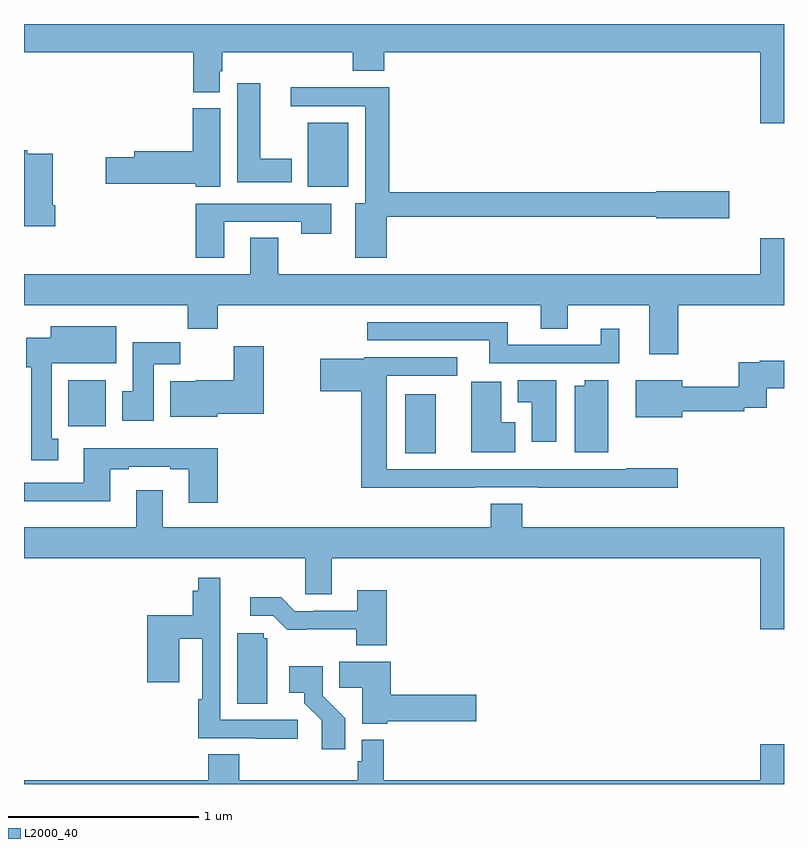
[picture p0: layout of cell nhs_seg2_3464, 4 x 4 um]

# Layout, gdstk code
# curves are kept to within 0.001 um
import gdstk
lib = gdstk.Library(unit=1e-6, precision=1e-09)
def R(c, l, rs):  # rectangles x0, y0, x1, y1
    for r in rs: c.add(gdstk.rectangle(r[:2], r[2:], *l))
def P(c, l, *ps):  # polygons
    for p in ps: c.add(gdstk.Polygon(p, *l))
L2000_40 = (2000, 40)

nhs_seg2_3464 = lib.new_cell('nhs_seg2_3464')
R(nhs_seg2_3464, L2000_40, [(295.007,629.542,295.168,629.851), (293.234,629.684,293.431,629.926), (294.494,630.944,294.706,631.279)])
P(nhs_seg2_3464, L2000_40, [(297,631.8),(293,631.8),(293,631.652),(293.891,631.652),(293.891,631.441),(294.031,631.441),(294.031,631.551),(294.044,631.551),(294.044,631.652),(294.731,631.652),(294.731,631.553),(294.896,631.553),(294.896,631.652),(296.876,631.652),(296.876,631.278),(297,631.278)],
  [(294.409,631.09),(294.244,631.09),(294.244,631.489),(294.122,631.489),(294.122,630.968),(294.409,630.968)],
  [(294.91,630.786),(296.328,630.786),(296.328,630.778),(296.713,630.778),(296.713,630.92),(296.328,630.92),(296.328,630.914),(294.923,630.914),(294.923,631.466),(294.405,631.466),(294.405,631.368),(294.797,631.368),(294.797,630.856),(294.743,630.856),(294.743,630.57),(294.91,630.57)],
  [(294.034,631.356),(293.888,631.356),(293.888,631.13),(293.579,631.13),(293.579,631.1),(293.43,631.1),(293.43,630.958),(293.904,630.958),(293.904,630.944),(294.034,630.944)],
  [(293.165,630.847),(293.152,630.847),(293.152,631.116),(293.018,631.116),(293.018,631.136),(293,631.136),(293,630.735),(293.165,630.735)],
  [(294.055,630.759),(294.46,630.759),(294.46,630.696),(294.616,630.696),(294.616,630.855),(293.903,630.855),(293.903,630.57),(294.055,630.57)],
  [(296.444,630.32),(297,630.32),(297,630.673),(296.876,630.673),(296.876,630.484),(294.339,630.484),(294.339,630.674),(294.191,630.674),(294.191,630.484),(293,630.484),(293,630.32),(293.863,630.32),(293.863,630.196),(294.02,630.196),(294.02,630.32),(295.721,630.32),(295.721,630.196),(295.861,630.196),(295.861,630.32),(296.291,630.32),(296.291,630.063),(296.444,630.063)],
  [(296.134,630.196),(296.036,630.196),(296.036,630.111),(295.546,630.111),(295.546,630.231),(294.807,630.231),(294.807,630.135),(295.448,630.135),(295.448,630.015),(296.134,630.015)],
  [(293.179,629.618),(293.146,629.618),(293.146,630.014),(293.485,630.014),(293.485,630.208),(293.141,630.208),(293.141,630.148),(293.012,630.148),(293.012,629.994),(293.039,629.994),(293.039,629.505),(293.179,629.505)],
  [(293.683,630.008),(293.822,630.008),(293.822,630.126),(293.573,630.126),(293.573,629.868),(293.516,629.868),(293.516,629.712),(293.683,629.712)],
  [(294.018,629.75),(294.262,629.75),(294.262,630.103),(294.104,630.103),(294.104,629.926),(293.904,629.926),(293.904,629.92),(293.771,629.92),(293.771,629.732),(294.018,629.732)],
  [(295.373,629.361),(295.705,629.361),(295.705,629.36),(296.44,629.36),(296.44,629.462),(296.17,629.462),(296.17,629.457),(294.91,629.457),(294.91,629.949),(295.281,629.949),(295.281,630.045),(294.792,630.045),(294.792,630.037),(294.558,630.037),(294.558,629.867),(294.776,629.867),(294.776,629.36),(295.373,629.36)],
  [(296.464,629.761),(296.792,629.761),(296.792,629.781),(296.909,629.781),(296.909,629.882),(297,629.882),(297,630.027),(296.872,630.027),(296.872,630.019),(296.761,630.019),(296.761,629.89),(296.464,629.89),(296.464,629.926),(296.219,629.926),(296.219,629.729),(296.464,629.729)],
  [(295.801,629.926),(295.599,629.926),(295.599,629.81),(295.673,629.81),(295.673,629.601),(295.801,629.601)],
  [(296.074,629.926),(295.952,629.926),(295.952,629.896),(295.898,629.896),(295.898,629.546),(296.074,629.546)],
  [(295.585,629.704),(295.513,629.704),(295.513,629.916),(295.355,629.916),(295.355,629.546),(295.585,629.546)],
  [(294.02,629.566),(293.315,629.566),(293.315,629.385),(293,629.385),(293,629.288),(293.455,629.288),(293.455,629.457),(293.551,629.457),(293.551,629.469),(293.771,629.469),(293.771,629.457),(293.867,629.457),(293.867,629.28),(294.02,629.28)],
  [(297,629.152),(295.622,629.152),(295.622,629.276),(295.457,629.276),(295.457,629.152),(293.731,629.152),(293.731,629.347),(293.591,629.347),(293.591,629.152),(293,629.152),(293,628.988),(294.48,628.988),(294.48,628.798),(294.619,628.798),(294.619,628.988),(296.876,628.988),(296.876,628.614),(297,628.614)],
  [(294.442,628.137),(294.033,628.137),(294.033,628.885),(293.917,628.885),(293.917,628.816),(293.888,628.816),(293.888,628.687),(293.648,628.687),(293.648,628.335),(293.818,628.335),(293.818,628.565),(293.937,628.565),(293.937,628.247),(293.917,628.247),(293.917,628.041),(294.217,628.041),(294.217,628.039),(294.442,628.039)],
  [(294.908,628.819),(294.755,628.819),(294.755,628.713),(294.526,628.713),(294.526,628.71),(294.426,628.71),(294.353,628.783),(294.192,628.783),(294.192,628.686),(294.312,628.686),(294.385,628.613),(294.748,628.614),(294.748,628.529),(294.908,628.529)],
  [(294.28,628.566),(294.261,628.566),(294.261,628.593),(294.122,628.593),(294.122,628.222),(294.28,628.222)],
  [(294.912,628.129),(295.381,628.129),(295.381,628.271),(294.929,628.271),(294.929,628.444),(294.658,628.444),(294.658,628.306),(294.779,628.306),(294.779,628.118),(294.912,628.118)],
  [(294.692,628.146),(294.573,628.265),(294.573,628.42),(294.396,628.42),(294.396,628.28),(294.476,628.28),(294.476,628.225),(294.567,628.135),(294.567,627.984),(294.692,627.984)],
  [(297,628.009),(296.876,628.009),(296.876,627.82),(294.893,627.82),(294.893,628.033),(294.777,628.033),(294.777,627.921),(294.757,627.921),(294.757,627.82),(294.134,627.82),(294.134,627.956),(293.969,627.956),(293.969,627.82),(293,627.82),(293,627.8),(297,627.8)])

lib.write_gds('nhs_seg2_3464.gds')
